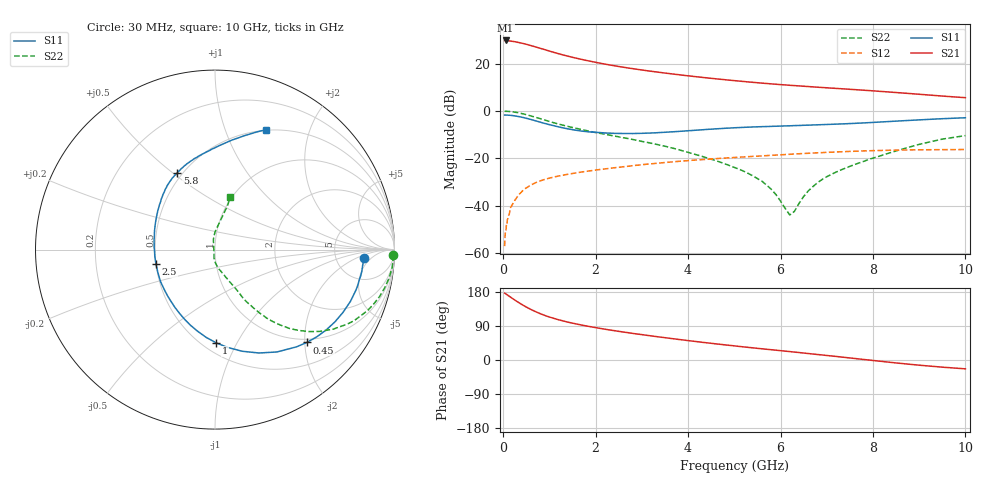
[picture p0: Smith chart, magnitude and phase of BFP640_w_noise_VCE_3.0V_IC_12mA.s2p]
! Infineon Technologies  Discrete & RF Semiconductors
! BFP640
! VCE =  3.0 V,  IC =  12 mA
! Common Emitter S-Parameters:  Apr 2013
# GHz  S  MA  R  50
!  f  S11  S21  S12  S22
! GHz  MAG  ANG  MAG  ANG  MAG  ANG  MAG  ANG
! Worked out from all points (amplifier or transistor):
!   99 points, 30 MHz to 10 GHz, reference 50 ohm
!   highest |S21| = 29.9 dB at 50 MHz (marker M1)
!   |S21| within 3 dB of that: start of sweep to 745.7 MHz
!   unconditionally stable (mu >= 1): 3.494 GHz to end of sweep
!   at 350 MHz: K = 0.18, MSG = 32.0 dB, |S12| = -35.0 dB
!   at 3.5 GHz: K = 1.00, MAG = 18.8 dB, |S12| = -21.7 dB
!   at 10 GHz: K = 1.09, MAG = 9.1 dB, |S12| = -16.2 dB
!   lowest NFmin = 0.69 dB at 450 MHz
!   S11 on the Smith chart (normalised r, x): 30 MHz: 10, -3; 450 MHz: 0.93, -2.04; 1 GHz: 0.58, -0.83; 2.5 GHz: 0.50, -0.09; 5.8 GHz: 0.47, +0.52; 10 GHz: 0.49, +1.39
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0.03  0.83 -3.1  30.98 176.5  0.0014 60.9  0.9932 -1.8
0.05  0.8287 -5.3  31.27 175.1  0.003 80.3  0.993 -3.1
0.11  0.8216 -11.5  30.87 169.8  0.0059 77.3  0.9884 -7.0
0.25  0.7943 -26.1  29.49 158.2  0.013 75.9  0.9534 -15.9
0.35  0.7646 -35.8  28.08 150.4  0.0177 73.5  0.9144 -21.9
0.45  0.7275 -45.3  26.64 143.1  0.0223 69.8  0.8693 -27.2
0.6  0.6667 -58.8  24.36 133.3  0.0275 64.2  0.7931 -34.0
0.7  0.6259 -67.0  22.82 127.6  0.0307 61.1  0.7417 -37.9
0.8  0.5863 -75.0  21.35 122.3  0.0336 58.8  0.6949 -41.1
1  0.5194 -89.3  18.65 113.4  0.0385 54.6  0.6066 -46.5
1.3  0.443 -108.0  15.4 103.0  0.0445 50.7  0.5045 -51.7
1.7  0.379 -130.1  12.42 92.1  0.0518 47.3  0.4078 -55.7
2.1  0.3523 -149.3  10.32 83.3  0.0586 44.6  0.3387 -58.9
2.5  0.3386 -166.2  8.802 75.6  0.065 42.4  0.2867 -60.6
3.4  0.3539 161.9  6.583 60.4  0.0804 36.7  0.1902 -66.1
4.3  0.4036 138.7  5.191 46.8  0.0945 30.2  0.111 -78.2
5.1  0.4503 125.0  4.331 35.9  0.1064 24.4  0.0596 -92.7
5.8  0.4775 116.0  3.776 27.1  0.1164 19.5  0.0223 -104.2
6.2  0.4902 111.8  3.529 22.2  0.1226 16.6  0.0064 -165.0
6.7  0.5109 105.5  3.266 15.8  0.1302 12.4  0.0254 107.0
8.5  0.6162 81.4  2.481 -7.8  0.1503 -4.2  0.1447 81.6
10  0.7262 67.0  1.928 -23.3  0.1546 -15.3  0.3046 73.7
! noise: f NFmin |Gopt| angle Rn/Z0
0.45  0.69  0.21  8  0.03
0.9  0.7  0.2  17  0.04
1.5  0.72  0.18  28  0.05
1.9  0.74  0.14  47  0.05
2.4  0.78  0.12  58  0.06
3.5  0.9  0.11  69  0.08
5.5  1.11  0.21  -115  0.11
10  1.67  0.58  -59  0.41
